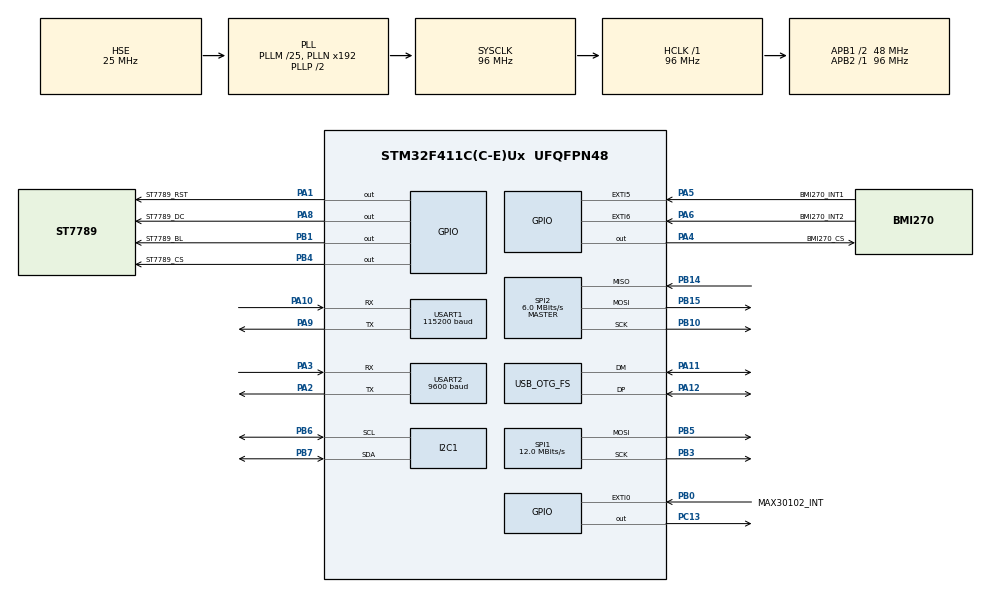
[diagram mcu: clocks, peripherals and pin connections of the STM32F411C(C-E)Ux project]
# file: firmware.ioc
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ADC1.Channel-0\#ChannelRegularConversion=ADC_CHANNEL_7
ADC1.ClockPrescaler=ADC_CLOCK_SYNC_PCLK_DIV4
ADC1.ContinuousConvMode=DISABLE
ADC1.EOCSelection=ADC_EOC_SINGLE_CONV
ADC1.NbrOfConversion=1
ADC1.NbrOfConversionFlag=1
ADC1.Rank-0\#ChannelRegularConversion=1
ADC1.Resolution=ADC_RESOLUTION_12B
ADC1.SamplingTime-0\#ChannelRegularConversion=ADC_SAMPLETIME_480CYCLES
ADC1.ScanConvMode=DISABLE
ADC1.master=1
Dma.I2C1_RX.2.Direction=DMA_PERIPH_TO_MEMORY
Dma.I2C1_RX.2.FIFOMode=DMA_FIFOMODE_DISABLE
Dma.I2C1_RX.2.Instance=DMA1_Stream0
Dma.I2C1_RX.2.MemDataAlignment=DMA_MDATAALIGN_BYTE
Dma.I2C1_RX.2.MemInc=DMA_MINC_ENABLE
Dma.I2C1_RX.2.Mode=DMA_NORMAL
Dma.I2C1_RX.2.PeriphDataAlignment=DMA_PDATAALIGN_BYTE
Dma.I2C1_RX.2.PeriphInc=DMA_PINC_DISABLE
Dma.I2C1_RX.2.Priority=DMA_PRIORITY_MEDIUM
Dma.Request0=USART2_TX
Dma.Request1=SPI2_RX
Dma.Request2=I2C1_RX
Dma.Request3=SPI2_TX
Dma.Request4=SPI1_TX
Dma.SPI1_TX.4.Direction=DMA_MEMORY_TO_PERIPH
Dma.SPI1_TX.4.FIFOMode=DMA_FIFOMODE_DISABLE
Dma.SPI1_TX.4.Instance=DMA2_Stream2
Dma.SPI1_TX.4.MemDataAlignment=DMA_MDATAALIGN_BYTE
Dma.SPI1_TX.4.MemInc=DMA_MINC_ENABLE
Dma.SPI1_TX.4.Mode=DMA_NORMAL
Dma.SPI1_TX.4.PeriphDataAlignment=DMA_PDATAALIGN_BYTE
Dma.SPI1_TX.4.PeriphInc=DMA_PINC_DISABLE
Dma.SPI1_TX.4.Priority=DMA_PRIORITY_HIGH
Dma.SPI2_RX.1.Direction=DMA_PERIPH_TO_MEMORY
Dma.SPI2_RX.1.FIFOMode=DMA_FIFOMODE_DISABLE
Dma.SPI2_RX.1.Instance=DMA1_Stream3
Dma.SPI2_RX.1.MemDataAlignment=DMA_MDATAALIGN_BYTE
Dma.SPI2_RX.1.MemInc=DMA_MINC_ENABLE
Dma.SPI2_RX.1.Mode=DMA_NORMAL
Dma.SPI2_RX.1.PeriphDataAlignment=DMA_PDATAALIGN_BYTE
Dma.SPI2_RX.1.PeriphInc=DMA_PINC_DISABLE
Dma.SPI2_RX.1.Priority=DMA_PRIORITY_MEDIUM
Dma.SPI2_TX.3.Direction=DMA_MEMORY_TO_PERIPH
Dma.SPI2_TX.3.FIFOMode=DMA_FIFOMODE_DISABLE
Dma.SPI2_TX.3.Instance=DMA1_Stream4
Dma.SPI2_TX.3.MemDataAlignment=DMA_MDATAALIGN_BYTE
Dma.SPI2_TX.3.MemInc=DMA_MINC_ENABLE
Dma.SPI2_TX.3.Mode=DMA_NORMAL
Dma.SPI2_TX.3.PeriphDataAlignment=DMA_PDATAALIGN_BYTE
Dma.SPI2_TX.3.PeriphInc=DMA_PINC_DISABLE
Dma.SPI2_TX.3.Priority=DMA_PRIORITY_LOW
Dma.USART2_TX.0.Direction=DMA_MEMORY_TO_PERIPH
Dma.USART2_TX.0.FIFOMode=DMA_FIFOMODE_DISABLE
Dma.USART2_TX.0.Instance=DMA1_Stream6
Dma.USART2_TX.0.MemDataAlignment=DMA_MDATAALIGN_BYTE
Dma.USART2_TX.0.MemInc=DMA_MINC_ENABLE
Dma.USART2_TX.0.Mode=DMA_NORMAL
Dma.USART2_TX.0.PeriphDataAlignment=DMA_PDATAALIGN_BYTE
Dma.USART2_TX.0.PeriphInc=DMA_PINC_DISABLE
Dma.USART2_TX.0.Priority=DMA_PRIORITY_HIGH
I2C1.I2C_Mode=I2C_Fast
Mcu.Family=STM32F4
Mcu.Name=STM32F411C(C-E)Ux
Mcu.Package=UFQFPN48
NVIC.DMA1_Stream0_IRQn=true\:1\:0\:true\:false\:true\:false\:true\:true
NVIC.DMA1_Stream3_IRQn=true\:1\:0\:true\:false\:true\:false\:true\:true
NVIC.DMA1_Stream4_IRQn=true\:0\:0\:false\:false\:true\:false\:true\:true
NVIC.DMA1_Stream6_IRQn=true\:0\:0\:false\:false\:true\:false\:true\:true
NVIC.DMA2_Stream2_IRQn=true\:0\:0\:false\:false\:true\:false\:true\:true
NVIC.EXTI0_IRQn=true\:0\:0\:false\:false\:true\:true\:true\:true
NVIC.EXTI9_5_IRQn=true\:0\:0\:false\:false\:true\:true\:true\:true
NVIC.I2C1_EV_IRQn=true\:1\:0\:true\:false\:true\:true\:true\:true
NVIC.OTG_FS_IRQn=true\:0\:0\:false\:false\:true\:false\:true\:true
NVIC.PriorityGroup=NVIC_PRIORITYGROUP_4
NVIC.SPI2_IRQn=true\:1\:0\:true\:false\:true\:true\:true\:true
NVIC.USART2_IRQn=true\:2\:0\:true\:false\:true\:true\:true\:true
PA1.GPIO_Label=ST7789_RST
PA1.Signal=GPIO_Output
PA10.Mode=Asynchronous
PA10.Signal=USART1_RX
PA11.Mode=Device_Only
PA11.Signal=USB_OTG_FS_DM
PA12.Mode=Device_Only
PA12.Signal=USB_OTG_FS_DP
PA13.Mode=Serial_Wire
PA13.Signal=SYS_JTMS-SWDIO
PA14.Mode=Serial_Wire
PA14.Signal=SYS_JTCK-SWCLK
PA2.Mode=Asynchronous
PA2.Signal=USART2_TX
PA3.Mode=Asynchronous
PA3.Signal=USART2_RX
PA4.GPIO_Label=BMI270_CS
PA4.PinState=GPIO_PIN_SET
PA4.Signal=GPIO_Output
PA5.GPIO_Label=BMI270_INT1
PA5.Signal=GPXTI5
PA6.GPIO_Label=BMI270_INT2
PA6.Signal=GPXTI6
PA7.Signal=ADC1_IN7
PA8.GPIO_Label=ST7789_DC
PA8.GPIO_Speed=GPIO_SPEED_FREQ_HIGH
PA8.Signal=GPIO_Output
PA9.Mode=Asynchronous
PA9.Signal=USART1_TX
PB0.GPIO_Label=MAX30102_INT
PB0.GPIO_ModeDefaultEXTI=GPIO_MODE_IT_FALLING
PB0.GPIO_PuPd=GPIO_PULLUP
PB0.Signal=GPXTI0
PB1.GPIO_Label=ST7789_BL
PB1.Signal=GPIO_Output
PB10.Mode=Full_Duplex_Master
PB10.Signal=SPI2_SCK
PB14.Mode=Full_Duplex_Master
PB14.Signal=SPI2_MISO
PB15.Mode=Full_Duplex_Master
PB15.Signal=SPI2_MOSI
PB3.Mode=TX_Only_Simplex_Unidirect_Master
PB3.Signal=SPI1_SCK
PB4.GPIO_Label=ST7789_CS
PB4.Signal=GPIO_Output
PB5.Mode=TX_Only_Simplex_Unidirect_Master
PB5.Signal=SPI1_MOSI
PB6.Mode=I2C
PB6.Signal=I2C1_SCL
PB7.Mode=I2C
PB7.Signal=I2C1_SDA
PC13-ANTI_TAMP.PinState=GPIO_PIN_SET
PC13-ANTI_TAMP.Signal=GPIO_Output
PH0\ -\ OSC_IN.Mode=HSE-External-Oscillator
PH0\ -\ OSC_IN.Signal=RCC_OSC_IN
PH1\ -\ OSC_OUT.Mode=HSE-External-Oscillator
PH1\ -\ OSC_OUT.Signal=RCC_OSC_OUT
ProjectManager.HeapSize=0x200
ProjectManager.StackSize=0x400
ProjectManager.TargetToolchain=STM32CubeIDE
RCC.48MHZClocksFreq_Value=48000000
RCC.AHBFreq_Value=96000000
RCC.APB1CLKDivider=RCC_HCLK_DIV2
RCC.APB1Freq_Value=48000000
RCC.APB1TimFreq_Value=96000000
RCC.APB2Freq_Value=96000000
RCC.APB2TimFreq_Value=96000000
RCC.CortexFreq_Value=96000000
RCC.HCLKFreq_Value=96000000
RCC.HSE_VALUE=25000000
RCC.HSI_VALUE=16000000
RCC.LSE_VALUE=32768
RCC.PLLM=25
RCC.SYSCLKFreq_VALUE=96000000
RCC.SYSCLKSource=RCC_SYSCLKSOURCE_PLLCLK
RCC.VCOOutputFreq_Value=192000000
SPI1.BaudRatePrescaler=SPI_BAUDRATEPRESCALER_8
SPI1.CalculateBaudRate=12.0 MBits/s
SPI1.Direction=SPI_DIRECTION_2LINES
SPI1.Mode=SPI_MODE_MASTER
SPI1.VirtualType=VM_MASTER
SPI2.BaudRatePrescaler=SPI_BAUDRATEPRESCALER_8
SPI2.CLKPhase=SPI_PHASE_2EDGE
SPI2.CLKPolarity=SPI_POLARITY_HIGH
SPI2.CalculateBaudRate=6.0 MBits/s
SPI2.Direction=SPI_DIRECTION_2LINES
SPI2.Mode=SPI_MODE_MASTER
SPI2.VirtualType=VM_MASTER
USART1.BaudRate=115200
USART1.VirtualMode=VM_ASYNC
USART2.BaudRate=9600
USART2.VirtualMode=VM_ASYNC
USB_DEVICE.CLASS_NAME_FS=CDC
USB_DEVICE.VirtualMode=Cdc
USB_DEVICE.VirtualModeFS=Cdc_FS
USB_OTG_FS.VirtualMode=Device_Only
VP_ADC1_Vref_Input.Mode=IN-Vrefint
VP_USB_DEVICE_VS_USB_DEVICE_CDC_FS.Mode=CDC_FS
board=custom

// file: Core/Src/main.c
/* USER CODE BEGIN Header */
/**
  ******************************************************************************
  * @file    main.c
  * @brief   센서 인터럽트 + FIFO 블록 기반 웨어러블 (낙상 / 심박 / SpO2)
  ******************************************************************************
  *
  * ── 아키텍처 ────────────────────────────────────────────────────────
  *
  *   센서가 준비되면 인터럽트로 알리고, MCU 는 그때만 깨어나 블록을 수거한다.
  *
  *     MAX30102  FIFO 25샘플(0.5초) → EXTI PB0 → I2C DMA 150B
  *     BMI270    FIFO 워터마크      → EXTI PA5 → SPI DMA (가속도 전용)
  *     그 외 시간에는 __WFI() 로 취침
  *
  *   알고리즘이 샘플 하나가 아니라 배열을 받으므로 앞뒤 문맥을 볼 수 있다.
  *   낙상 백트래킹과 PPG 영위상 필터가 이 구조를 전제로 한다.
  *
  * ── 메인 루프 (순서에 의미가 있다) ──────────────────────────────────
  *
  *   IWDG 갱신           루프가 살아있다는 증거
  *   Service_I2C_Fault() I2C 오류 복구 — ISR 이 아니라 여기서 한다
  *   Collect_IMU_Block() FIFO 길이 조회 후 SPI DMA 시작
  *   Process_IMU_Block() 낙상 판정 → 움직임 값 산출
  *   Collect_PPG_Block() EXTI 유실 / BUSY 고착 시 스트림 복구
  *   Process_PPG_Block() 심박/SpO2 → AGC (IMU 움직임 값을 참조하므로 뒤에)
  *   AppClock_*()        BLE 시각 반영, 시계 진행, 자정 걸음 수 초기화
  *   HM10_Send_Now()     BLE 주기 송신 (1초)
  *   Battery_Service()   배터리 측정 (1초)
  *   DisplayService_Service() 손목 들기에 따라 화면 점등/소등, LVGL 구동
  *   Enter_Idle()        할 일 없으면 취침
  *
  * ── 엣지 인터럽트 폴백 ──────────────────────────────────────────────
  *
  *   엣지 트리거는 한 번 놓치면 스스로 복구하지 못한다. 그래서 각 스트림에
  *   시간 기반 폴백을 둔다. 정상 동작 시 비용은 0 이고, 인터럽트가 죽어도
  *   시스템은 계속 돈다.
  *
  *     BMI270 INT1 미배선/유실   → 700ms 폴링
  *     MAX30102 EXTI 유실        → 1.5초 폴링
  *     I2C 핸들 BUSY 고착        → 3초 후 강제 복구
  *     그 위에 IWDG 8초          → 어느 단계든 멎으면 재부팅
  *
  * ── ISR 안에서 하면 안 되는 것 ──────────────────────────────────────
  *
  *   · HAL_Delay()  — SysTick(우선순위 15)이 선점하지 못해 영원히 멈춘다.
  *                    복구가 필요하면 플래그만 세우고 메인 루프에 맡긴다.
  *   · 같은 핸들에 대한 블로킹/DMA 혼용 — 상태 머신이 깨진다.
  *     (g_ppg_block_ready 플래그가 hi2c1 의 잠금 역할을 겸한다)
  *
  * ── I2C 버스 락업 ───────────────────────────────────────────────────
  *
  *   DMA 전송 도중 MCU 가 리셋되면 슬레이브가 SDA 를 계속 붙든 채 남는다.
  *   MCU 재시작만으로는 풀리지 않아 첫 부팅 이후 통신이 되지 않는다.
  *   MX_I2C1_Init() 보다 먼저 I2C1_BusRecovery() 로 SCL 을 직접 흔들어
  *   슬레이브를 빼낸다.
  *
  ******************************************************************************
  */
/* USER CODE END Header */
#include "main.h"
#include "adc.h"
#include "dma.h"
#include "i2c.h"
#include "spi.h"
#include "usart.h"
#include "usb_device.h"
#include "gpio.h"

/* USER CODE BEGIN Includes */
#include <stdio.h>
#include <string.h>
#include <math.h>
#include "bmi270.h"
#include "max30102.h"
#include "fall_detection.h"
#include "heart_rate_calc.h"
#include "step_counter.h"
#include "wrist_raise.h"
#include "app_clock.h"
#include "usbd_cdc_if.h"
#include "hm10.h"
#include "display_service.h"
#include "battery.h"
/* USER CODE END Includes */

/* USER CODE BEGIN PV */

/* ------------------------------------------------------------------
 * [저전력 모드 선택]
 *   0 = WFI Sleep. USB CDC 로그가 살아있어 알고리즘 튜닝이 가능하다.
 *   1 = Stop Mode. USB 가 끊기므로 로그를 잃는다. 튜닝 완료 후 전환할 것.
 *
 * Stop Mode 진입 시 HSE/PLL 이 정지하므로 깨어난 직후 반드시 클럭을 복구해야
 * 하며, 그 사이 SysTick 이 멈춰 HAL_GetTick() 기반 주기가 어긋난다.
 * ------------------------------------------------------------------ */
#define LOWPOWER_STOP_MODE   0

/* 하드웨어 인터럽트 → 메인 루프 상태 동기화 플래그 */
volatile uint8_t g_imu_fwm_pending = 0;   // FIFO 워터마크 도달, 아직 수거 전
volatile uint8_t g_imu_block_ready = 0;   // SPI DMA 수거 완료
volatile uint8_t g_ppg_block_ready = 0;   // I2C DMA 수거 완료
volatile uint8_t g_i2c_fault       = 0;   // I2C 오류 — 복구는 메인 루프가 담당

/* IMU 인터럽트 배선 여부 판별 및 폴링 폴백 */
volatile uint8_t g_imu_int_seen    = 0;   // INT1 이 한 번이라도 들어왔는가
static uint8_t   g_imu_fallback_warned = 0;
static uint32_t  g_last_imu_block_ms = 0;
#define IMU_FALLBACK_MS   700             // 이 시간 동안 블록이 없으면 직접 수거

/* PPG 폴백.
 *
 * MAX30102 의 INT 는 액티브 로우이고 EXTI 는 하강 엣지 트리거다.
 * FIFO 가 찬 상태(INT=LOW)에서 I2C 복구나 재초기화가 일어나면 핀이 눌린 채
 * 남아 새 하강 엣지가 오지 않고, EXTI 에만 의존하는 PPG 스트림은 영구 정지한다.
 * 일정 시간 블록이 없으면 직접 수거해 FIFO 를 비우고 핀을 풀어준다. */
static uint32_t  g_last_ppg_block_ms = 0;
static uint32_t  g_ppg_fallback_count = 0;   // 엣지 유실로 폴링 복구한 횟수
static uint32_t  g_i2c_recover_count  = 0;   // I2C 오류로 버스 복구한 횟수
#define PPG_FALLBACK_MS   1500            // 정상 주기 0.5초의 3배

/* I2C BUSY 고착 워치독.
 *
 * DMA 가 오류 콜백 없이 멈추면 hi2c1.State 가 BUSY_RX 에 남는다. EXTI 경로와
 * 폴백 경로가 둘 다 State == READY 를 요구하고, g_i2c_fault 는 이미 소비되어
 * 0 이므로, 상태를 되돌려줄 주체가 아무도 없는 교착이 된다.
 * BUSY 가 비정상적으로 오래 지속되면 시간으로 그 교착을 연다. */
static uint32_t  g_i2c_busy_since_ms = 0;
#define I2C_BUSY_STUCK_MS  3000           // 정상 트랜잭션은 수 ms 안에 끝난다

/* PPG 센서 재초기화 (충격으로 센서만 리셋된 경우의 복구).
 * 쿨다운은 재초기화 폭주를 막는다 —— 센서가 물리적으로 빠졌다면
 * 매 오류마다 50ms 짜리 초기화를 시도하다 메인 루프가 잠식된다. */
static uint32_t  g_last_ppg_reinit_ms = 0;
static uint32_t  g_ppg_reinit_count   = 0;
#define PPG_REINIT_COOLDOWN_MS  2000

/* BMI270 FIFO 블록 — SPI DMA 수신 원본 및 디코딩 결과 */
static uint8_t       bmi_fifo_rx[BMI270_FIFO_RX_LEN] = {0};
static BMI270_Data_t bmi_accel[BMI270_FIFO_MAX_FRAMES] = {0};
static volatile uint16_t g_imu_block_bytes = 0;

/* MAX30102 FIFO 블록 — I2C DMA 수신 원본 및 디코딩 결과 */
static uint8_t         ppg_rx[MAX30102_MAX_BLOCK_BYTES] = {0};
static MAX30102_Data_t ppg_samples[MAX30102_FIFO_DEPTH] = {0};

/* HM-10 낙상 의심 플래그 - 확정 시 세우고 일정 시간 뒤 자동 해제 */
volatile uint8_t  g_fall_flag = 0;
volatile uint32_t g_fall_flag_ms = 0;
#define HM10_FALL_HOLD_MS   5000   /* 낙상 플래그 유지 시간(ms) — 카메라 교차검증 윈도우 확보 */

#define HM10_VITAL_PERIOD_MS 1000  /* 바이탈 주기 송신 간격 (ms) */

/* 주기 송신 시각. 낙상 즉시 송신도 이 시각을 갱신해야 패킷이 겹치지 않는다. */
static uint32_t g_last_vital_ms = 0;

/* 시각 요청 재시도.
 *
 * 부팅 직후에는 BLE 가 아직 안 붙어 있을 수 있어 요청 한 번은 유실되기 쉽다.
 * 동기가 설 때까지만 주기적으로 다시 묻고, 맞춰지면 스스로 멈춘다.
 * 3바이트짜리라 몇 번 더 보내도 비용이 없다. */
static uint32_t g_last_time_req_ms = 0;
#define TIME_REQ_RETRY_MS   5000

/* ── 독립 워치독(IWDG) ──────────────────────────────────────────────
 *
 * 어느 단계가 멎어도 BLE 송신만은 계속되는 상태가 가장 위험하다. 밖에서는
 * '측정값이 없는 정상 동작'과 구분되지 않기 때문이다. 사람이 차고 있는
 * 기기이므로 멈춘 채 살아있는 것보다 재부팅이 낫다.
 *
 * HAL_IWDG 모듈이 비활성이고 stm32f4xx_hal_iwdg.c 도 없어 레지스터로 직접
 * 다룬다 (KR/PR/RLR/SR 네 개가 전부다).
 *
 * LSI(약 32kHz) 기준 1000 × 256 / 32000 ≈ 8초. LSI 는 17~47kHz 로 흔들리므로
 * 최악의 경우에도 5.4초는 확보된다. 메인 루프의 최장 블로킹은 화면 점등
 * (패널 기상 120ms + 전체 렌더)과 I2C 복구 + PPG 재초기화(약 22ms + 50ms 남짓)
 * 정도라 여유가 충분하다. */
#define IWDG_KEY_RELOAD   0xAAAAU
#define IWDG_KEY_ENABLE   0xCCCCU
#define IWDG_KEY_UNLOCK   0x5555U
#define IWDG_RELOAD_VAL   1000U

/* 센서 사용 가능 여부. 초기화에 실패해도 멈추지 않고 해당 센서만 끈 채로 계속 돈다.
 * 한쪽이 죽어도 나머지 기능과 HM-10 송신은 살아있어야 하기 때문. */
static uint8_t g_bmi270_ok = 0;
static uint8_t g_max30102_ok = 0;
#define SENSOR_INIT_RETRY   3      /* 초기화 재시도 횟수 */
#define SENSOR_RETRY_WAIT_MS 200   /* 재시도 간격(ms) */
/* USER CODE END PV */

void SystemClock_Config(void);
/* USER CODE BEGIN PFP */
void SPI2_DMA_Reset_Unlock(void);
static void Collect_IMU_Block(void);
static void Process_IMU_Block(void);
static void Process_PPG_Block(void);
static void HM10_Send_Now(void);
static void Blink_Error_Code(uint8_t count);
static void Enter_Idle(void);
static void I2C1_BusRecovery(void);
static void Service_I2C_Fault(void);
static void Collect_PPG_Block(void);
static void IWDG_Start(void);
/* USER CODE END PFP */

int main(void)
{

  /* MCU Configuration--------------------------------------------------------*/

  /* Reset of all peripherals, Initializes the Flash interface and the Systick. */
  HAL_Init();

  /* Configure the system clock */
  SystemClock_Config();

  /* USER CODE BEGIN SysInit */
  /* I2C 주변장치를 세우기 전에 버스부터 풀어준다.
   * MCU 가 DMA 전송 도중 리셋되면 슬레이브는 전송이 끝나지 않았다고 믿고
   * SDA 를 계속 Low 로 붙든다. MCU 재시작만으로는 절대 안 풀리고 센서 전원을
   * 뽑아야 복구되는데, 그게 "전원 인가 후 첫 부팅만 성공"의 정체다. */
  I2C1_BusRecovery();
  /* USER CODE END SysInit */

  /* Initialize all configured peripherals */
  MX_GPIO_Init();
  MX_DMA_Init();
  MX_I2C1_Init();
  MX_SPI2_Init();
  MX_USART1_UART_Init();
  MX_USART2_UART_Init();
  MX_USB_DEVICE_Init();
  MX_SPI1_Init();
  MX_ADC1_Init();
  /* USER CODE BEGIN 2 */
  hm10_init(&huart2); /* HM-10 을 USART2 에 등록 (기존 낙상 알림 UART 재활용) */

  /* 수신 개시 — RPi 가 BLE 로 내려주는 시각을 받는다.
   * 이후에는 ISR 이 스스로 재무장하므로 여기서 한 번만 부르면 된다.
   * 실패는 조용히 넘기지 않는다 — 수신이 통째로 죽는데 겉으로는
   * '시계가 안 맞는다' 로만 보여 원인을 찾기 어렵다. */
  if (hm10_start_receive() != HAL_OK)
  {
      printf("[ HM10 ] 시각 수신 무장 실패 — 시각 동기 사용 불가\r\n");
  }

  HAL_Delay(2500); // 센서 전원 및 아날로그 회로 안정화 대기

  /* 1. 하드웨어 및 센서 초기화
   *    실패해도 멈추지 않는다. 재시도 후 해당 센서만 끄고 진행한다.
   *    여기서 갇히면 웨어러블이 조용히 죽어버리고 서버는 이유를 알 수 없다. */
  for (int i = 0; i < SENSOR_INIT_RETRY && !g_bmi270_ok; i++) {
      if (BMI270_Init() == HAL_OK) {
          g_bmi270_ok = 1;
      } else {
          printf(">> [WARNING] BMI270 Init Failed! (%d/%d)\r\n", i + 1, SENSOR_INIT_RETRY);
          HAL_Delay(SENSOR_RETRY_WAIT_MS);
      }
  }

  for (int i = 0; i < SENSOR_INIT_RETRY && !g_max30102_ok; i++) {
      if (MAX30102_Init() == HAL_OK) {
          g_max30102_ok = 1;
      } else {
          printf(">> [WARNING] MAX30102 Init Failed! (%d/%d)\r\n", i + 1, SENSOR_INIT_RETRY);
          HAL_Delay(SENSOR_RETRY_WAIT_MS);
      }
  }

  /* 최종 실패한 센서는 LED 깜빡임 횟수로 알린다 (USB 미연결 시 유일한 단서) */
  if (!g_bmi270_ok) {
      printf(">> [ERROR] BMI270 disabled — 낙상·만보기·손목 들기 사용 불가 (화면 상시 점등)\r\n");
      Blink_Error_Code(2);
  }
  if (!g_max30102_ok) {
      printf(">> [ERROR] MAX30102 disabled — 심박/SpO2 사용 불가\r\n");
      Blink_Error_Code(3);
  }

  /* 2. 알고리즘 초기화
   *
   * 자이로 캘리브레이션은 하지 않는다. 자이로 전원을 끈 상태이고
   * (bmi270.c 의 PWR_CTRL 주석 참조) 자이로 값을 읽는 코드도 없다.
   * 부팅 시간 2초를 그대로 절약한다. */
  FallDetection_Init();
  HeartRateCalc_Init();
  StepCounter_Init();
  WristRaise_Init();
  AppClock_Init();

  /* 3. 통신 라인 안전 초기화 */
  SPI2_DMA_Reset_Unlock();

  /* 4. FIFO 및 하드웨어 인터럽트 구성 (타이머 폴링 폐기) */
  if (g_bmi270_ok)
  {
      if (BMI270_ConfigFifoAndInterrupts() != HAL_OK) {
          printf(">> [ERROR] BMI270 FIFO/INT 구성 실패 — 낙상·만보기·손목 들기 사용 불가 (화면 상시 점등)\r\n");
          g_bmi270_ok = 0;
          Blink_Error_Code(4);
      }
      else {
          /* any-motion 은 "완전 정지 시 웨이크업 생략" 절전 게이트로 쓰려고 구성해 둔
           * 것이다. 다만 현재 INT2 를 소비하는 코드가 없어(아래 EXTI 콜백 참조) 실제
           * 절전 효과는 없다. 실패해도 감지는 FIFO 워터마크가 담당하므로 무관하다. */
          if (BMI270_ConfigAnyMotion(300, 100) != HAL_OK) {
              printf("[WARNING] any-motion 구성 실패 — 미사용 기능이라 동작에는 영향 없음\r\n");
          }
      }
  }

  /* 폴백 타이머를 '지금' 으로 맞춘다.
   *
   * 0 으로 두면 부팅 시점의 HAL_GetTick() (센서 안정화 2.5초 + 초기화로 이미
   * 3초 남짓)이 곧바로 폴백 조건을 넘겨, 첫 인터럽트가 오기도 전에
   * '인터럽트 유실' 로 오판한다. */
  g_last_imu_block_ms = HAL_GetTick();
  g_last_ppg_block_ms = HAL_GetTick();

  printf(">> Block Monitoring Start (IMU:%s PPG:%s, idle:%s)\r\n\r\n",
         g_bmi270_ok ? "ok" : "OFF", g_max30102_ok ? "ok" : "OFF",
         LOWPOWER_STOP_MODE ? "STOP" : "WFI");

  /* 디스플레이는 꺼진 채로 세운다. 손목을 들 때까지 켜지지 않는다.
   * IWDG 보다 앞에 두는 이유는 내부 HAL_Delay 합계가 약 0.2초이기 때문이다. */
  DisplayService_Init(g_bmi270_ok);

  /* 배터리 측정 시드. DisplayService_Init 뒤에 두는 이유는 첫 화면이
   * 켜지기 전에 잔량이 채워져 있어야 하기 때문이다 — 앞에 두면 처음 한 번은
   * SquareLine 기본값 80% 가 잠깐 보인다.
   *
   * USB 로만 급전 중이면(스위치 OFF) 분압기도 끊겨 있어 유효값을 못 얻는다.
   * 그 경우 Battery_IsValid() 가 계속 0 이고 화면은 "--" 를 띄운다. */
  Battery_Init();
  if (Battery_IsValid())
  {
      printf("[  BAT  ] %.2fV (%u%%)\r\n",
             (double)Battery_GetVolts(), (unsigned)Battery_GetPercent());
  }
  else
  {
      printf("[  BAT  ] 측정 경로 없음 — 스위치 OFF 이거나 USB 전용 급전\r\n");
  }

  /* 부팅 시퀀스(센서 재시도 / Blink_Error_Code 의 HAL_Delay)가 모두 끝난
   * 뒤에 켠다. 이 위치가 중요하다 — 앞에서 켜면 재부팅 루프가 된다. */
  IWDG_Start();

  /* 첫 송신을 한 주기 뒤로 맞춘다. 0 으로 두면 부팅에 이미 3초 남짓 쓴 상태라
   * 기준점이 어긋난 채 시작한다. */
  g_last_vital_ms = HAL_GetTick();

  /* USER CODE END 2 */

  /* Infinite loop */
  /* USER CODE BEGIN WHILE */
  while (1)
  {
      /* ------------------------------------------------------------------
       * [STAGE 1] FIFO 워터마크 도달 → SPI DMA 로 IMU 블록 일괄 수거
       * ------------------------------------------------------------------ */
      /* 워치독 갱신 —— 루프가 한 바퀴 돈다는 증거.
       * 어느 단계든 영구히 막히면 갱신이 끊기고 약 8초 뒤 리셋된다.
       * 조용히 멈춘 채로 BLE 에 0 만 내보내는 상태를 만들지 않기 위한 것이다. */
      IWDG->KR = IWDG_KEY_RELOAD;

      /* I2C 오류 복구는 반드시 여기서 한다 (ISR 안에서는 HAL_Delay 를 쓸 수 없다) */
      Service_I2C_Fault();

      Collect_IMU_Block();

      /* ------------------------------------------------------------------
       * [STAGE 2] 블록 단위 알고리즘 구동
       *   IMU 를 먼저 처리해야 PPG 모션 블랭킹이 최신 움직임 값을 본다.
       * ------------------------------------------------------------------ */
      Process_IMU_Block();

      Collect_PPG_Block();   /* EXTI 유실 시 스트림 복구 */
      Process_PPG_Block();

      /* ------------------------------------------------------------------
       * [STAGE 3] HM-10 BLE 주기 송신 (HM10_VITAL_PERIOD_MS = 1초) — 바이탈 + 낙상 플래그 + 걸음 수
       * ------------------------------------------------------------------ */
      /* RPi 가 내려준 시각이 있으면 반영한다.
       * ISR 은 검증만 하고 값을 남겨두며, 시계를 실제로 미는 것은 여기다.
       * AppClock_Service() 보다 먼저 부른다 — 시각을 갈아끼운 직후에 진행분을
       * 더하면 방금 맞춘 값이 한 틱 어긋난 채로 시작한다. */
      uint8_t sync_h, sync_m, sync_s;
      if (hm10_take_time(&sync_h, &sync_m, &sync_s))
      {
          AppClock_SetTime(sync_h, sync_m, sync_s);
          printf("[ CLOCK ] BLE 시각 동기 %02u:%02u:%02u\r\n",
                 (unsigned)sync_h, (unsigned)sync_m, (unsigned)sync_s);
      }

      AppClock_Service();

      /* 자정 처리.
       * 걸음 수는 Reset() 이 아니라 SetSteps(0) 으로 지운다 — 자정에 걷고 있는
       * 중일 수 있고, 그때 필터와 리듬 상태까지 날리면 진행 중이던 보행이
       * 끊겨 다음 4걸음을 다시 검증해야 한다. 지울 것은 누적값뿐이다. */
      if (AppClock_ConsumeMidnight())
      {
          printf("[ CLOCK ] 자정 — 걸음 수 초기화 (%lu 걸음)\r\n",
                 (unsigned long)StepCounter_GetSteps());
          StepCounter_SetSteps(0);
      }

      uint32_t now = HAL_GetTick();

      /* 시각이 아직 안 맞았으면 릴레이에 요청한다.
       * 릴레이의 10분 주기만 기다리면 그동안 화면에 빌드 시각이 남는데,
       * MCU 만 리셋되고 BLE 링크는 살아있는 경우 릴레이는 아무 일도 없었다고
       * 보기 때문에 특히 오래 걸린다. 먼저 물어보는 쪽이 확실하다. */
      if (!AppClock_IsSynced() && (now - g_last_time_req_ms >= TIME_REQ_RETRY_MS))
      {
          g_last_time_req_ms = now;
          hm10_request_time();

          /* 요청과 함께 수신 계측을 같이 찍는다.
           *
           * 시각이 안 맞는 현상은 원인이 셋인데 밖에서는 똑같아 보인다.
           *   RX=0            HM-10 TX → PA3 구간이 죽음. 릴레이가 뭘 보냈든 무관하다
           *   RX 증가 + bad 증가   바이트는 오는데 규격이 안 맞음 (양쪽 스펙 확인)
           *   RX 증가 + bad 0      0x55 가 아닌 다른 것이 옴 (HM-10 AT 응답 등)
           * err 가 함께 늘면 보드레이트나 노이즈를 의심한다. */
          uint32_t rx_total = 0, rx_err = 0, rx_bad = 0;
          uint8_t  rx_last = 0;
          hm10_get_rx_stats(&rx_total, &rx_err, &rx_bad, &rx_last);
          printf("[ HM10 ] 시각 요청 송신 — RX 누적 %lu B / 오류 %lu / 불량패킷 %lu / 마지막 0x%02X\r\n",
                 (unsigned long)rx_total, (unsigned long)rx_err,
                 (unsigned long)rx_bad, (unsigned)rx_last);
      }

      /* 낙상 플래그 유지 시간 경과 시 자동 해제 */
      if (g_fall_flag && (now - g_fall_flag_ms >= HM10_FALL_HOLD_MS))
      {
          g_fall_flag = 0;
      }

      /* 기준점을 '지금' 으로 갱신한다 (직전 기준 + 주기 가 아니다).
       * 어떤 이유로 한 주기를 놓쳐도 밀린 만큼 몰아서 보내지 않는다 —
       * 수신 측이 보는 것은 항상 '최신 상태' 하나면 충분하다. */
      if (now - g_last_vital_ms >= HM10_VITAL_PERIOD_MS)
      {
          g_last_vital_ms = now;
          HM10_Send_Now();
      }

      /* ------------------------------------------------------------------
       * [STAGE 4] 화면. 손목을 들었을 때만 켜지고, 켜져 있는 동안만 LVGL 이 돈다.
       * ------------------------------------------------------------------ */
      /* 배터리는 화면보다 먼저 갱신한다 — 같은 바퀴에서 라벨을 채우게 하려면
       * 값이 먼저 준비돼 있어야 한다. 내부에서 1초 주기로만 실제 측정하고,
       * 측정하는 바퀴에만 약 0.33ms 를 쓴다. */
      Battery_Service();

      DisplayService_Service();

      /* ------------------------------------------------------------------
       * [STAGE 5] 처리할 일이 없으면 잠든다.
       *   센서 인터럽트(EXTI) 또는 DMA 완료가 곧 기상 신호다.
       *   SysTick 이 1ms 마다 깨우므로 화면이 켜져 있어도 LVGL 갱신 주기
       *   (LV_DEF_REFR_PERIOD 33ms)를 놓치지 않는다.
       * ------------------------------------------------------------------ */
      Enter_Idle();
  }
    /* USER CODE END WHILE */

}

void SystemClock_Config(void)
{
  RCC_OscInitTypeDef RCC_OscInitStruct = {0};
  RCC_ClkInitTypeDef RCC_ClkInitStruct = {0};

  /** Configure the main internal regulator output voltage
  */
  __HAL_RCC_PWR_CLK_ENABLE();
  __HAL_PWR_VOLTAGESCALING_CONFIG(PWR_REGULATOR_VOLTAGE_SCALE1);

  /** Initializes the RCC Oscillators according to the specified parameters
  * in the RCC_OscInitTypeDef structure.
  */
  RCC_OscInitStruct.OscillatorType = RCC_OSCILLATORTYPE_HSE;
  RCC_OscInitStruct.HSEState = RCC_HSE_ON;
  RCC_OscInitStruct.PLL.PLLState = RCC_PLL_ON;
  RCC_OscInitStruct.PLL.PLLSource = RCC_PLLSOURCE_HSE;
  RCC_OscInitStruct.PLL.PLLM = 25;
  RCC_OscInitStruct.PLL.PLLN = 192;
  RCC_OscInitStruct.PLL.PLLP = RCC_PLLP_DIV2;
  RCC_OscInitStruct.PLL.PLLQ = 4;
  if (HAL_RCC_OscConfig(&RCC_OscInitStruct) != HAL_OK)
  {
    Error_Handler();
  }

  /** Initializes the CPU, AHB and APB buses clocks
  */
  RCC_ClkInitStruct.ClockType = RCC_CLOCKTYPE_HCLK|RCC_CLOCKTYPE_SYSCLK
                              |RCC_CLOCKTYPE_PCLK1|RCC_CLOCKTYPE_PCLK2;
  RCC_ClkInitStruct.SYSCLKSource = RCC_SYSCLKSOURCE_PLLCLK;
  RCC_ClkInitStruct.AHBCLKDivider = RCC_SYSCLK_DIV1;
  RCC_ClkInitStruct.APB1CLKDivider = RCC_HCLK_DIV2;
  RCC_ClkInitStruct.APB2CLKDivider = RCC_HCLK_DIV1;

  if (HAL_RCC_ClockConfig(&RCC_ClkInitStruct, FLASH_LATENCY_3) != HAL_OK)
  {
    Error_Handler();
  }
}

/* USER CODE BEGIN 4 */

/**
  * @brief FIFO 워터마크 인터럽트에 반응해 IMU 블록을 SPI DMA 로 수거 시작
  *
  * 적재량을 먼저 읽어 그만큼만 가져온다. 워터마크 설정값을 신뢰하지 않기 때문에
  * 레지스터 단위 해석이 어긋나도 판독 길이는 항상 실제와 일치한다.
  */
static void Collect_IMU_Block(void)
{
    /* ---- INT1 폴링 폴백 ----
     * 이전 아키텍처는 타이머 폴링이라 BMI270 INT 핀을 전혀 쓰지 않았다.
     * 따라서 PA5 가 물리적으로 배선돼 있지 않을 수 있다.
     * 인터럽트가 안 와도 시스템이 죽지 않도록 주기적으로 직접 수거한다.
     * 감지 성능은 동일하고, 절전 효율만 손해다. */
    if (g_bmi270_ok && !g_imu_fwm_pending && !g_imu_block_ready &&
        (HAL_GetTick() - g_last_imu_block_ms) >= IMU_FALLBACK_MS)
    {
        if (!g_imu_int_seen && !g_imu_fallback_warned)
        {
            g_imu_fallback_warned = 1;
            printf("[ IMU ] INT1(PA5) 인터럽트가 오지 않아 폴링 모드로 전환합니다.\r\n");
            printf("        BMI270 INT1 배선을 확인하세요 — 감지 기능은 정상 동작합니다.\r\n");
        }
        g_imu_fwm_pending = 1;
    }

    if (!g_imu_fwm_pending || !g_bmi270_ok) return;
    if (hspi2.State != HAL_SPI_STATE_READY) return;   // 직전 전송 진행 중이면 다음 턴에
    if (g_imu_block_ready) return;                    // 아직 소비되지 않은 블록이 있다

    g_imu_fwm_pending = 0;

    uint16_t fifo_bytes = 0;
    if (BMI270_GetFifoLength(&fifo_bytes) != HAL_OK)
    {
        SPI2_DMA_Reset_Unlock();
        return;
    }

    /* 프레임 경계로 내림 정렬 — 반쪽짜리 프레임을 넘기지 않는다. */
    fifo_bytes = (uint16_t)((fifo_bytes / BMI270_FIFO_FRAME_LEN) * BMI270_FIFO_FRAME_LEN);

    const uint16_t cap = BMI270_FIFO_MAX_FRAMES * BMI270_FIFO_FRAME_LEN;
    if (fifo_bytes > cap) fifo_bytes = cap;   // 남는 분량은 다음 인터럽트에서 마저 가져간다
    if (fifo_bytes == 0) return;

    g_imu_block_bytes = fifo_bytes;

    if (BMI270_StartFifoRead_DMA(bmi_fifo_rx, fifo_bytes) != HAL_OK)
    {
        g_imu_block_bytes = 0;
        SPI2_DMA_Reset_Unlock();
    }
}

static void Process_IMU_Block(void)
{
    if (!g_imu_block_ready) return;
    g_imu_block_ready = 0;

    uint16_t bytes = g_imu_block_bytes;
    g_imu_block_bytes = 0;
    g_last_imu_block_ms = HAL_GetTick();

    uint16_t frames = BMI270_ParseFifoBlock(bmi_fifo_rx, bytes,
                                            bmi_accel, BMI270_FIFO_MAX_FRAMES);
    if (frames == 0) return;

    /* 낙상 확정 게이트는 '광학적 접촉'(HasContact)까지만 요구한다.
     *
     * 원래는 IsWorn() —— 맥박까지 확인된 착용 —— 이었다. 그런데 이 센서로는
     * 손목에서 맥박이 잡히는 일이 드물어, 정작 사람이 차고 있는데도 게이트가
     * 열리지 않아 낙상이 통째로 묻혔다. 검출되지 않는 낙상보다는 가끔의 오보가
     * 낫다는 판단이다 (사람이 차고 있는 기기다).
     *
     * ⚠ 대가: HasContact 는 IR DC 와 반사율만 보므로 책상·바닥에 엎어둔
     *   상태에서도 참이 될 수 있다 (heart_rate_calc.c 상단 주석 참조).
     *   그 경우 충격 + 정지가 겹치면 오보가 나갈 수 있다. 다만 맥박을 찾지
     *   못한 채 60초(PULSE_SEARCH_TIMEOUT)가 지나면 접촉 판정 자체가 해제되므로
     *   창은 그만큼으로 제한된다. 직전까지 착용 확정 상태였다면 확정 해제
     *   (WEAR_REVOKE_SAMPLES 30초) 뒤에 이 60초가 시작되어 최대 90초다. */
    FallDetection_ProcessBlock(bmi_accel, frames, HeartRateCalc_HasContact());

    /* 만보기는 착용 판정을 거치지 않는다 — IMU 만으로 성립하는 기능에
     * PPG 접촉 판정을 물리면 MAX30102 고장이 만보기까지 끌고 들어간다.
     * (상세 근거는 step_counter.c 상단 '착용 판정을 쓰지 않는 이유') */
    StepCounter_ProcessBlock(bmi_accel, frames);

    /* 손목 자세 판정 — 화면을 켤지 말지는 DisplayService 가 이 결과를 보고 정한다.
     * 만보기와 같은 이유로 착용 판정을 거치지 않는다. PPG 가 고장 나도 화면은
     * 켜져야 한다. */
    WristRaise_ProcessBlock(bmi_accel, frames);

    /* 버퍼 상한에 걸려 잘라 읽었다면 FIFO 에 아직 데이터가 남아있다.
     * INT 핀은 펄스 방식이라 새 엣지가 오지 않을 수 있으므로 스스로 재무장한다.
     * 이게 없으면 한 번 밀린 순간부터 IMU 스트림이 통째로 멈춘다. */
    if (bytes >= (BMI270_FIFO_MAX_FRAMES * BMI270_FIFO_FRAME_LEN))
    {
        g_imu_fwm_pending = 1;
    }
}

/**
  * @brief EXTI 를 놓쳐 멈춘 PPG 스트림을 되살린다.
  *
  * INT 핀이 눌린 채 남으면 하강 엣지가 오지 않아 스트림이 영구 정지한다.
  * 일정 시간 블록이 없으면 직접 수거를 걸어 복구한다.
  * 수거가 끝나면 Process_PPG_Block() 이 INT_STAT_1 을 읽어 A_FULL 을 해제하고,
  * 그때 INT 핀도 다시 풀린다.
  */
static void Collect_PPG_Block(void)
{
    if (!g_max30102_ok || g_ppg_block_ready) return;

    /* BUSY 가 오래 지속되면 정상 전송이 아니라 고착이다.
     * 여기서 조용히 return 만 하면 탈출구가 사라진다 (위 워치독 주석 참조). */
    if (hi2c1.State != HAL_I2C_STATE_READY)
    {
        if (g_i2c_busy_since_ms == 0)
        {
            g_i2c_busy_since_ms = HAL_GetTick();
        }
        else if ((HAL_GetTick() - g_i2c_busy_since_ms) >= I2C_BUSY_STUCK_MS)
        {
            g_i2c_busy_since_ms = 0;
            g_i2c_fault = 1;   /* 메인 루프의 Service_I2C_Fault() 가 핸들을 재구성한다 */
        }
        return;
    }
    g_i2c_busy_since_ms = 0;

    if ((HAL_GetTick() - g_last_ppg_block_ms) < PPG_FALLBACK_MS) return;

    /* 발생 횟수를 센다.
     *
     * 한 번만 경고하고 끝내면 '어쩌다 한 번' 인지 '계속 새는지' 를 알 수 없다.
     * 첫 발생과 이후 10회마다만 찍어 로그 오염 없이 빈도를 드러낸다.
     *
     * 원인은 크게 둘이다.
     *   · I2C 오류 후 복구      → g_i2c_recover_count 가 함께 증가
     *   · 순수 엣지 유실        → 이 카운트만 증가
     * 두 값을 비교하면 배선 문제인지 타이밍 문제인지 갈린다. */
    g_ppg_fallback_count++;

    if (g_ppg_fallback_count == 1 || (g_ppg_fallback_count % 10) == 0)
    {
        printf("[ PPG ] 인터럽트 유실 %lu회 (I2C 복구 %lu회) — 폴링으로 복구\r\n",
               (unsigned long)g_ppg_fallback_count,
               (unsigned long)g_i2c_recover_count);
    }

    /* 재시도 폭주를 막기 위해 성공 여부와 무관하게 타이머를 갱신한다 */
    g_last_ppg_block_ms = HAL_GetTick();

    if (MAX30102_StartBlockRead_DMA(ppg_rx, MAX30102_BLOCK_BYTES) != HAL_OK)
    {
        g_i2c_fault = 1;
    }
}

static void Process_PPG_Block(void)
{
    if (!g_ppg_block_ready) return;
    g_last_ppg_block_ms = HAL_GetTick();

    uint16_t samples = MAX30102_ParseBlock(ppg_rx, MAX30102_BLOCK_BYTES,
                                           ppg_samples, MAX30102_FIFO_DEPTH);

    /* A_FULL 플래그를 명시적으로 해제한다.
     * INT 핀이 액티브 로우로 눌린 채 남으면 EXTI 하강엣지가 다시 오지 않아
     * PPG 스트림이 첫 블록 이후 영구 정지한다. 2Hz 짜리 1바이트 판독이라
     * 비용은 무시할 수 있다. */
    uint8_t int_status = 0;
    MAX30102_ReadRegister(MAX30102_REG_INT_STAT_1, &int_status);

    if (samples > 0)
    {
        /* ⚠ 순서가 중요하다 —— 알고리즘이 먼저, 이득 조절이 나중이다.
         *
         * 지금 손에 있는 ppg_samples 는 '이득을 바꾸기 전' 전류로 찍힌 데이터다.
         * AutoGain 을 먼저 돌리면 NotifyGainChange() 가 파이프라인을 새 전류
         * 기준으로 맞춰놓은 상태에서 옛 전류 데이터를 밀어넣게 된다.
         * 그러면 DC 추정기가 옛 전류 값(예: 240000)으로 씨앗을 잡고, 바로 다음
         * 블록에서 새 전류 값(예: 157000)이 들어와 8만 카운트짜리 계단이 생긴다.
         * DC_ALPHA_NORMAL(차단 0.24Hz)로는 그 계단이 사라지는 데 8초가 걸리고,
         * 그동안 자기상관 창이 통째로 오염되어 r 이 0 에 머문다.
         *
         * 이 블록을 먼저 소비하면 이득 변경은 다음 블록부터 깔끔하게 적용된다. */
        HeartRateCalc_ProcessBlock(ppg_samples, samples, FallDetection_GetBlockMotion());

        /* 자동 이득 조절 — DC 를 목표 대역으로 끌어당긴다.
         *
         * 안정화 구간에는 건드리지 않는다. 착용 직후 첫 블록의 평균 DC 는
         * 공기 → 조직 계단 점프의 한복판 값이라, 그것으로 정한 이득은
         * 다음 블록에서 다시 고쳐야 한다. */
        if (!HeartRateCalc_IsSettling())
        {
            uint64_t ir_sum = 0;
            for (uint16_t i = 0; i < samples; i++) ir_sum += ppg_samples[i].ir;

            /* 반드시 HasContact() 여야 한다. IsWorn() 은 맥박 확인을 요구하는데,
             * 맥박 검출은 AGC 가 먼저 포화를 풀어줘야 가능하다 — 순환 의존이 된다. */
            if (MAX30102_AutoGain((uint32_t)(ir_sum / samples),
                                  HeartRateCalc_HasContact()))
            {
                HeartRateCalc_NotifyGainChange();
            }
        }
    }

    /* 블로킹 I2C 가 모두 끝난 뒤에야 플래그를 내린다.
     * g_ppg_block_ready 가 1 인 동안은 EXTI 가 새 DMA 를 걸지 않으므로,
     * 이 플래그 자체가 핸들 동시 접근을 막는 잠금 역할을 한다. */
    g_ppg_block_ready = 0;
}

/**
  * @brief 처리할 블록이 없을 때만 잠든다.
  *
  * 플래그 검사와 WFI 사이에 인터럽트가 끼어들면 이미 도착한 일감을 두고
  * 잠들 수 있다. PRIMASK 로 그 창을 닫는다 — WFI 는 PRIMASK 가 막아둔
  * 인터럽트로도 정상적으로 깨어나므로 취침 자체는 방해받지 않는다.
  */
static void Enter_Idle(void)
{
    __disable_irq();

    if (!g_imu_fwm_pending && !g_imu_block_ready && !g_ppg_block_ready && !g_i2c_fault)
    {
#if LOWPOWER_STOP_MODE
        HAL_SuspendTick();
        HAL_PWR_EnterSTOPMode(PWR_LOWPOWERREGULATOR_ON, PWR_STOPENTRY_WFI);
        SystemClock_Config();          // Stop 진입 시 정지한 HSE/PLL 복구
        HAL_ResumeTick();
#else
        __WFI();
#endif
    }

    __enable_irq();
}

// 현재 바이탈 + 낙상 플래그 + 걸음 수를 HM-10 7바이트 패킷으로 송신
static void HM10_Send_Now(void)
{
    uint32_t bpm  = HeartRateCalc_GetBPMHeld();   /* 낙상 순간 0 이 나가지 않게 홀드값 사용 */
    uint32_t spo2 = HeartRateCalc_GetSpO2();
    uint8_t  hr   = (bpm > 255) ? 255 : (uint8_t)bpm;   /* 심박 8bit 클램프 */

    /* 걸음 수 16bit 포화.
     * 자정마다 0 으로 돌아가므로 65535 를 넘길 일은 없지만, 시각 동기가 없어
     * 자정 리셋이 걸리지 않은 채 며칠 켜져 있으면 도달할 수 있다. 그때
     * 잘라내지 않으면 65536 에서 0 으로 되감겨 '갑자기 안 걸은 것' 처럼 보인다. */
    uint32_t steps = StepCounter_GetSteps();
    uint16_t steps16 = (steps > 65535U) ? 65535U : (uint16_t)steps;

    hm10_send_packet(hr, (uint8_t)spo2, g_fall_flag, steps16);
}

/* 낙상 확정 시 호출 (fall_detection.c) - 플래그 세우고 즉시 1회 송신 */
void Send_Fall_Alert_Hardware(void)
{
    g_fall_flag = HM10_FALL_SUSPECT;
    g_fall_flag_ms = HAL_GetTick();
    HM10_Send_Now();   // 다음 주기 기다리지 않고 즉시 반영

    /* 주기 송신 기준점도 함께 민다.
     * 안 그러면 주기 만료 직전에 낙상이 뜰 때 같은 내용의 패킷이
     * 수십 ms 간격으로 두 번 나간다. 수신 측에서 중복 이벤트로 보인다. */
    g_last_vital_ms = HAL_GetTick();
}

// 부팅 시 실패를 LED 깜빡임 횟수로 알린다 (USB 미연결 시 유일한 단서)
//   2회 = BMI270 초기화 실패, 3회 = MAX30102 초기화 실패, 4회 = BMI270 FIFO/INT 구성 실패
// 부팅 때 한 번만 도는 유한 루프다. 여기서 갇히면 안 된다.
static void Blink_Error_Code(uint8_t count)
{
    for (uint8_t i = 0; i < count; i++)
    {
        HAL_GPIO_WritePin(STATUS_LED_GPIO_Port, STATUS_LED_Pin, GPIO_PIN_RESET);
        HAL_Delay(200);
        HAL_GPIO_WritePin(STATUS_LED_GPIO_Port, STATUS_LED_Pin, GPIO_PIN_SET);
        HAL_Delay(200);
    }
    HAL_Delay(600);   // 다음 코드와 구분되게 쉬어간다
}

/**
  * @brief  독립 워치독 기동. 한 번 켜면 리셋 전까지 끌 수 없다.
  *
  * ⚠ 반드시 부팅 시퀀스가 끝난 뒤에 부를 것.
  *   Blink_Error_Code() 는 HAL_Delay 로 최대 2.2초를 쓰고, 센서 초기화
  *   재시도까지 겹치면 그보다 길어진다. 그 구간에서 켜면 부팅이 끝나기 전에
  *   리셋이 걸려 재부팅 루프가 된다.
  */
static void IWDG_Start(void)
{
    /* 순서가 중요하다 — 기동이 먼저다.
     *
     * IWDG 는 전용 LSI 로 도는데, KR=0xCCCC 를 써야 그 LSI 가 켜진다.
     * PR/RLR 을 먼저 쓰고 SR 을 기다리면 아직 클럭이 없어 PVU/RVU 가
     * 영영 내려가지 않는다. HAL_IWDG_Init() 도 같은 이유로 기동을 앞에 둔다.
     * 기동 직후 잠깐은 기본값(약 0.5초)으로 도는데, 아래 재설정이
     * 수 마이크로초 안에 끝나므로 문제되지 않는다. */
    IWDG->KR  = IWDG_KEY_ENABLE;      /* 기동 + LSI 시동 */
    IWDG->KR  = IWDG_KEY_UNLOCK;      /* PR/RLR 쓰기 잠금 해제 */
    IWDG->PR  = IWDG_PR_PR;           /* 분주비 256 (최대) */
    IWDG->RLR = IWDG_RELOAD_VAL;

    /* 새 값이 반영될 때까지 기다린다. 무한 대기는 하지 않는다 —
     * 워치독을 켜려다 여기서 멈추면 본말이 전도된다. */
    uint32_t guard = 100000U;
    while ((IWDG->SR != 0U) && (--guard != 0U)) { }

    IWDG->KR = IWDG_KEY_RELOAD;       /* 새 리로드값으로 카운터 적재 */
}

// SPI 데드락 탈출
void SPI2_DMA_Reset_Unlock(void)
{
    HAL_SPI_DMAStop(&hspi2);
    __HAL_SPI_DISABLE(&hspi2);
    __HAL_SPI_ENABLE(&hspi2);
    HAL_GPIO_WritePin(BMI270_CS_GPIO_Port, BMI270_CS_Pin, GPIO_PIN_SET);
}

/* 센서 하드웨어 인터럽트 —— 센서 데이터 도착을 알리는 기상 신호
 * (WFI 는 SysTick 1ms, DMA/UART 완료 인터럽트로도 깨어난다)
 *   PB0 : MAX30102 FIFO Almost Full (25샘플 = 0.5초)
 *   PA5 : BMI270 INT1 = FIFO 워터마크
 *   PA6 : BMI270 INT2 = any-motion (구성만 되어 있고 현재 소비하지 않음)
 *
 * ISR 안에서는 블로킹 판독을 하지 않는다. FIFO 길이 조회가 필요한 IMU 쪽은
 * 플래그만 세우고 실제 수거는 메인 루프로 넘긴다. */
void HAL_GPIO_EXTI_Callback(uint16_t GPIO_Pin)
{
    switch (GPIO_Pin)
    {
        case MAX30102_INT_Pin:
            /* FIFO_DATA 연속 판독이 RD_PTR 을 전진시킨다. A_FULL 해제는
             * 블록 처리 때 Process_PPG_Block() 이 INT_STAT_1 판독으로 확실히 한다.
             *
             * hi2c1.State 확인이 핵심이다. 메인 루프가 블로킹 판독 중일 때
             * 여기서 DMA 를 걸면 같은 핸들을 양쪽에서 만지게 되어 상태 머신이 깨진다.
             * 버스 복구는 절대 여기서 하지 않는다 — HAL_Delay 가 ISR 을 영구 정지시킨다. */
            if (!g_ppg_block_ready && g_max30102_ok &&
                hi2c1.State == HAL_I2C_STATE_READY)
            {
                if (MAX30102_StartBlockRead_DMA(ppg_rx, MAX30102_BLOCK_BYTES) != HAL_OK)
                {
                    g_i2c_fault = 1;
                }
            }
            break;

        case BMI270_INT1_Pin:
            g_imu_int_seen = 1;
            g_imu_fwm_pending = 1;
            break;

        case BMI270_INT2_Pin:
            /* any-motion 은 절전 게이트로 쓰려던 것이지만 아직 구현되지 않았다.
             * FIFO 워터마크가 감지를 담당하므로 여기서 할 일은 없다 —
             * 인터럽트를 소비해 EXTI 를 정리하는 것으로 끝난다. */
            break;

        default:
            break;
    }
}

// I2C 블록 수신 완료 (MAX30102)
void HAL_I2C_MemRxCpltCallback(I2C_HandleTypeDef *hi2c)
{
    if (hi2c->Instance == I2C1)
    {
        g_ppg_block_ready = 1;
    }
}

/* I2C 오류 콜백은 인터럽트 컨텍스트에서 실행된다.
 *
 * 여기서 복구를 직접 수행하면 안 된다. I2C1_BusRecovery() 는 HAL_Delay() 를 쓰는데,
 * 이 ISR 은 우선순위 1 이고 SysTick 은 15 라서 틱이 영원히 증가하지 못한다.
 * 즉 HAL_Delay 가 반환되지 않고 시스템이 그 자리에서 멈춘다.
 * 따라서 플래그만 세우고 실제 복구는 메인 루프에 맡긴다. */
void HAL_I2C_ErrorCallback(I2C_HandleTypeDef *hi2c)
{
    if (hi2c->Instance == I2C1)
    {
        /* ⚠ 여기서 g_ppg_block_ready 를 내리면 안 된다.
         *
         * 이 플래그는 hi2c1 핸들의 잠금을 겸한다. Process_PPG_Block() 이
         * 블로킹 쓰기를 하는 도중 ISR 에서 잠금을 풀면 EXTI 가 같은 핸들에
         * DMA 를 걸 수 있다. 해제는 소유자인 Process_PPG_Block() 에서만 한다. */
        g_i2c_fault = 1;
    }
}

/**
  * @brief  I2C 오류 복구 (메인 루프 전용 — HAL_Delay 사용)
  */
static void Service_I2C_Fault(void)
{
    if (!g_i2c_fault) return;
    g_i2c_fault = 0;
    g_i2c_recover_count++;   /* PPG 폴백 로그에서 원인 구분에 쓰인다 */

    HAL_I2C_DeInit(&hi2c1);
    I2C1_BusRecovery();
    MX_I2C1_Init();

    /* 주변장치가 BUSY 를 물고 있으면 SWRST 로만 풀린다 */
    if (__HAL_I2C_GET_FLAG(&hi2c1, I2C_FLAG_BUSY))
    {
        hi2c1.Instance->CR1 |=  I2C_CR1_SWRST;
        hi2c1.Instance->CR1 &= ~I2C_CR1_SWRST;
        HAL_I2C_Init(&hi2c1);
    }

    /* ------------------------------------------------------------------
     * 버스를 고쳤다고 센서가 살아난 것은 아니다.
     *
     * 충격이나 전원 드룹은 I2C 오류와 센서 자체 리셋을 동시에 일으킨다.
     * 위까지는 MCU 쪽 버스만 재건할 뿐이라, 센서가 MODE_CONF=0x00 으로
     * 돌아가 있으면 LED 가 꺼진 채 FIFO 도 채우지 않는다. 그런데 버스는
     * 정상이므로 더 이상 오류가 나지 않고, 아무도 이 상태를 깨우지 않는다.
     * 실측: 충격 직후 측정이 멈춘 뒤 재부팅 전까지 복구되지 않았다.
     *
     * 낙상 감지 웨어러블에서 이건 치명적이다 —— 낙상은 곧 충격이고,
     * 낙상 확정 게이트인 HeartRateCalc_HasContact() 가 PPG(IR DC) 기반이라
     * PPG 가 죽으면 낙상 판정까지 함께 꺼진다. 정확히 필요한 순간에 기능이
     * 사라진다.
     * ------------------------------------------------------------------ */
    if (!g_max30102_ok) return;

    /* 재초기화 폭주 방지. 센서가 물리적으로 빠졌다면 매 오류마다 50ms 짜리
     * 초기화를 시도하게 되고, 그러면 메인 루프가 그것만 하다 끝난다. */
    if ((HAL_GetTick() - g_last_ppg_reinit_ms) < PPG_REINIT_COOLDOWN_MS) return;

    if (MAX30102_IsAlive()) return;   /* 설정이 살아 있으면 건드리지 않는다 */

    g_last_ppg_reinit_ms = HAL_GetTick();
    g_ppg_reinit_count++;

    printf("[ PPG ] 센서 설정 소실 감지 — 재초기화 (%lu회차)\r\n",
           (unsigned long)g_ppg_reinit_count);

    if (MAX30102_Init() == HAL_OK)
    {
        /* 센서를 새로 세웠으니 신호 파이프라인도 처음부터다.
         * 필터 상태와 자기상관 이력에는 죽기 직전의 잔재가 남아 있고,
         * 그걸 새 신호와 한 창에 섞으면 가짜 주기가 만들어진다. */
        HeartRateCalc_Reset();
        g_last_ppg_block_ms = HAL_GetTick();
        printf("[ PPG ] 재초기화 성공 — 측정 재개\r\n");
    }
    else
    {
        /* 실패해도 g_max30102_ok 를 내리지 않는다. 접촉 불량은 대개
         * 일시적이라, 쿨다운 뒤 다음 오류에서 다시 시도하는 편이 낫다. */
        printf("[ PPG ] 재초기화 실패 — 다음 오류에서 재시도\r\n");
    }
}

/**
  * @brief  물린 I2C 버스를 물리 계층에서 강제로 풀어낸다.
  *
  * SDA 가 Low 로 잡혀 있는 동안 SCL 을 최대 9번 토글해 슬레이브가 남은 비트를
  * 모두 내보내게 한 뒤, STOP 조건을 만들어 트랜잭션을 종료시킨다.
  * 9번인 이유는 한 바이트(8비트) + ACK 를 빠져나오기에 충분하기 때문이다.
  *
  * @note  MX_I2C1_Init() 보다 먼저 불러야 한다. 핀이 아직 AF 로 넘어가기 전에
  *        GPIO 로 직접 흔들어야 하기 때문이다.
  */
static void I2C1_BusRecovery(void)
{
    GPIO_InitTypeDef gpio = {0};

    __HAL_RCC_GPIOB_CLK_ENABLE();

    /* PB6=SCL, PB7=SDA 를 오픈드레인 GPIO 로 되돌린다 */
    gpio.Pin   = GPIO_PIN_6 | GPIO_PIN_7;
    gpio.Mode  = GPIO_MODE_OUTPUT_OD;
    gpio.Pull  = GPIO_PULLUP;
    gpio.Speed = GPIO_SPEED_FREQ_LOW;
    HAL_GPIO_Init(GPIOB, &gpio);

    /* 둘 다 해제(High)에서 출발 */
    HAL_GPIO_WritePin(GPIOB, GPIO_PIN_6 | GPIO_PIN_7, GPIO_PIN_SET);
    HAL_Delay(1);

    /* SDA 가 물려 있는 동안만 클럭을 넣는다 */
    for (uint8_t i = 0; i < 9; i++)
    {
        if (HAL_GPIO_ReadPin(GPIOB, GPIO_PIN_7) == GPIO_PIN_SET) break;  // 이미 풀렸다

        HAL_GPIO_WritePin(GPIOB, GPIO_PIN_6, GPIO_PIN_RESET);
        HAL_Delay(1);
        HAL_GPIO_WritePin(GPIOB, GPIO_PIN_6, GPIO_PIN_SET);
        HAL_Delay(1);
    }

    /* STOP 조건 생성: SCL 이 High 인 상태에서 SDA 를 Low → High */
    HAL_GPIO_WritePin(GPIOB, GPIO_PIN_7, GPIO_PIN_RESET);
    HAL_Delay(1);
    HAL_GPIO_WritePin(GPIOB, GPIO_PIN_6, GPIO_PIN_SET);
    HAL_Delay(1);
    HAL_GPIO_WritePin(GPIOB, GPIO_PIN_7, GPIO_PIN_SET);
    HAL_Delay(1);

    /* 핀을 아날로그로 되돌려 둔다. 곧 MX_I2C1_Init() 이 AF 로 다시 잡는다. */
    HAL_GPIO_DeInit(GPIOB, GPIO_PIN_6 | GPIO_PIN_7);
}

// SPI 블록 수신 완료 (BMI270 FIFO)
void HAL_SPI_TxRxCpltCallback(SPI_HandleTypeDef *hspi)
{
    if (hspi->Instance == SPI2)
    {
        HAL_GPIO_WritePin(BMI270_CS_GPIO_Port, BMI270_CS_Pin, GPIO_PIN_SET);
        g_imu_block_ready = 1;
    }
}

void HAL_SPI_RxCpltCallback(SPI_HandleTypeDef *hspi)
{
    if (hspi->Instance == SPI2)
    {
        HAL_SPI_TxRxCpltCallback(hspi);
    }
}

void HAL_SPI_ErrorCallback(SPI_HandleTypeDef *hspi)
{
    if (hspi->Instance == SPI2)
    {
        g_imu_block_ready = 0;
        g_imu_block_bytes = 0;
        SPI2_DMA_Reset_Unlock();
    }
}

int _write(int file, char *ptr, int len)
{
    extern USBD_HandleTypeDef hUsbDeviceFS;
    if (hUsbDeviceFS.dev_state != USBD_STATE_CONFIGURED)
    {
        return len;
    }

    volatile uint32_t retry_count = 2000;
    while (CDC_Transmit_FS((uint8_t*)ptr, len) == USBD_BUSY)
    {
        retry_count--;
        if (retry_count == 0)
        {
            break;
        }
    }
    return len;
}
/* USER CODE END 4 */

void Error_Handler(void)
{
  __disable_irq();
  while (1)
  {
  }
}
